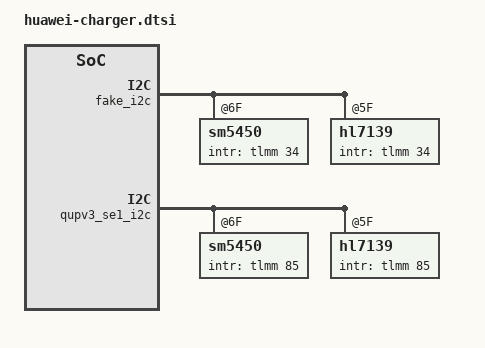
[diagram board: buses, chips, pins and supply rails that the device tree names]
&huawei_batt_info {
    shield_ct_sign = <1>;
};

&fake_i2c {
	sm5450@6F{
		pinctrl-0 = <&sm5450_main_irq_pins_default>;
		intr_gpio_num = <34>; /* direct defined GPIO num */
		intr_gpio = <&tlmm 34 0>;
		fcp_support = <0>;
		scp_support = <0>;
		ic_role = <1>;
	};

	hl7139@5F {
		pinctrl-0 = <&sm5450_main_irq_pins_default>;
		intr_gpio_num = <34>; /* direct defined GPIO num */
		intr_gpio = <&tlmm 34 0>;
		fcp_support = <0>;
		scp_support = <0>;
		ic_role = <1>;
	};
};

&qupv3_se1_i2c {
	sm5450@6F{
		pinctrl-0 = <&sm5450_irq_pins_default>;
		intr_gpio_num = <85>; /* direct defined GPIO num */
		intr_gpio = <&tlmm 85 0>;
		fcp_support = <1>;
		scp_support = <1>;
		ic_role = <0>;
	};

	hl7139@5F {
		pinctrl-0 = <&sm5450_irq_pins_default>;
		intr_gpio_num = <85>; /* direct defined GPIO num */
		intr_gpio = <&tlmm 85 0>;
		fcp_support = <1>;
		scp_support = <1>;
		ic_role = <0>;
	};
};
